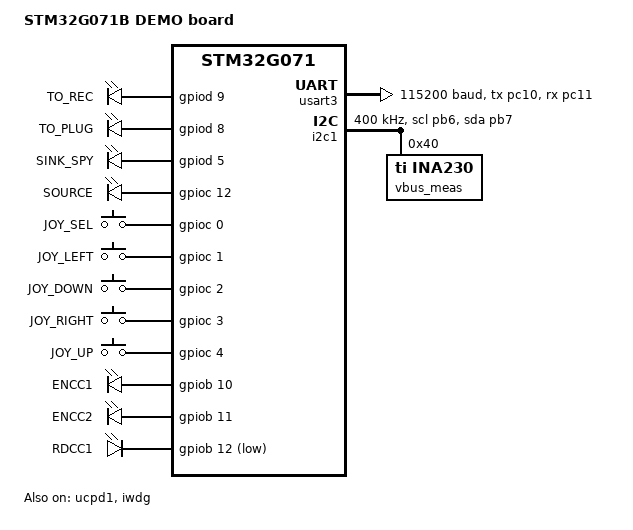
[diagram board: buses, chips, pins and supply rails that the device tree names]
/*
 * Copyright 2021 The Chromium OS Authors
 *
 * SPDX-License-Identifier: Apache-2.0
 */

/dts-v1/;
#include <st/g0/stm32g071Xb.dtsi>
#include <st/g0/stm32g071r(6-8-b)tx-pinctrl.dtsi>
#include <zephyr/dt-bindings/sensor/ina230.h>
#include <zephyr/dt-bindings/input/input-event-codes.h>

/ {
	model = "STM32G071B DEMO board";
	compatible = "st,stm32g071-demo";

	chosen {
		zephyr,console = &usart3;
		zephyr,shell-uart = &usart3;
		zephyr,sram = &sram0;
		zephyr,flash = &flash0;
	};

	leds {
		compatible = "gpio-leds";
		red_led_4: led4 {
			gpios = <&gpiod 9 GPIO_ACTIVE_HIGH>;
			label = "TO_REC";
		};
		red_led_5: led5 {
			gpios = <&gpiod 8 GPIO_ACTIVE_HIGH>;
			label = "TO_PLUG";
		};
		green_led_6: led6 {
			gpios = <&gpiod 5 GPIO_ACTIVE_HIGH>;
			label = "SINK_SPY";
		};
		green_led_7: led7 {
			gpios = <&gpioc 12 GPIO_ACTIVE_HIGH>;
			label = "SOURCE";
		};
	};

	gpio_keys {
		compatible = "gpio-keys";
		joy_sel: button0 {
			label = "JOY_SEL";
			gpios = <&gpioc 0 (GPIO_ACTIVE_HIGH | GPIO_PULL_DOWN)>;
			zephyr,code = <INPUT_KEY_ENTER>;
		};
		joy_left: button1 {
			label = "JOY_LEFT";
			gpios = <&gpioc 1 (GPIO_ACTIVE_HIGH | GPIO_PULL_DOWN)>;
			zephyr,code = <INPUT_KEY_LEFT>;
		};
		joy_down: button2 {
			label = "JOY_DOWN";
			gpios = <&gpioc 2 (GPIO_ACTIVE_HIGH | GPIO_PULL_DOWN)>;
			zephyr,code = <INPUT_KEY_DOWN>;
		};
		joy_right: button3 {
			label = "JOY_RIGHT";
			gpios = <&gpioc 3 (GPIO_ACTIVE_HIGH | GPIO_PULL_DOWN)>;
			zephyr,code = <INPUT_KEY_RIGHT>;
		};
		joy_up: button4 {
			label = "JOY_UP";
			gpios = <&gpioc 4 (GPIO_ACTIVE_HIGH | GPIO_PULL_DOWN)>;
			zephyr,code = <INPUT_KEY_UP>;
		};
	};

	cc_config {
		compatible = "gpio-leds";
		encc1 {
			gpios = <&gpiob 10 GPIO_ACTIVE_HIGH>;
			label = "ENCC1";
		};

		encc2 {
			gpios = <&gpiob 11 GPIO_ACTIVE_HIGH>;
			label = "ENCC2";
		};

		rdcc1 {
			gpios = <&gpiob 12 GPIO_ACTIVE_LOW>;
			label = "RDCC1";
		};
	};

	aliases {
		led0 = &red_led_4;
		led1 = &red_led_5;
		led2 = &green_led_6;
		led3 = &green_led_7;
		sw0 = &joy_sel;
		sw1 = &joy_left;
		sw2 = &joy_down;
		sw3 = &joy_right;
		sw4 = &joy_up;
		watchdog0 = &iwdg;
	};
};

&clk_hsi {
	status = "okay";
};

&pll {
	div-m = <1>;
	mul-n = <8>;
	div-p = <2>;
	div-q = <2>;
	div-r = <2>;
	clocks = <&clk_hsi>;
	status = "okay";
};

&rcc {
	clocks = <&pll>;
	clock-frequency = <DT_FREQ_M(64)>;
	ahb-prescaler = <1>;
	apb1-prescaler = <1>;
};

&usart3 {
	pinctrl-0 = <&usart3_tx_pc10 &usart3_rx_pc11>;
	pinctrl-names = "default";
	current-speed = <115200>;
	status = "okay";
};

&i2c1 {
	status = "okay";
	pinctrl-0 = <&i2c1_scl_pb6 &i2c1_sda_pb7>;
	pinctrl-names = "default";
	status = "okay";
	clock-frequency = <I2C_BITRATE_FAST>;

	/*
	 * Use U10, INA230 to measure VBUS. I2C Address: 0x40
	 */
	vbus_meas: ina230@40 {
		status = "okay";
		compatible = "ti,ina230";
		reg = <0x40>;
		adc-mode = "Bus voltage continuous";
		vbus-conversion-time-us = <1100>;
		vshunt-conversion-time-us = <1100>;
		avg-count = <1>;
		current-lsb-microamps = <1000>;
		rshunt-micro-ohms = <15000>;
	};
};

&ucpd1 {
	status = "okay";

	/*
	 * UCPD is fed directly from HSI which is @ 16MHz. The ucpd_clk goes to
	 * a prescaler who's output feeds the 'half-bit' divider which is used
	 * to generate clock for delay counters and BMC Rx/Tx blocks. The rx is
	 * designed to work in freq ranges of 6 <--> 18 MHz, however recommended
	 * range is 9 <--> 18 MHz.
	 *
	 *          +-------+ @ 16 MHz +-------+   @ ~600 kHz   +-----------+
	 * HSI ---->| /psc  |--------->| /hbit |--------------->| trans_cnt |
	 *          +-------+          +-------+   |            +-----------+
	 *                                         |            +-----------+
	 *                                         +----------->| ifrgap_cnt|
	 *                                                      +-----------+
	 * Requirements:
	 *   1. hbit_clk ~= 600 kHz: 16 MHz / 600 kHz = 26.67
	 *   2. tTransitionWindow - 12 to 20 uSec
	 *   3. tInterframGap - uSec
	 *
	 * hbit_clk = HSI_clk / 27 = 592.6 kHz = 1.687 uSec period
	 * tTransitionWindow = 1.687 uS * 8 = 13.5 uS
	 * tInterFrameGap = 1.687 uS * 17 = 28.68 uS
	 */
	psc-ucpdclk = <1>;
	hbitclkdiv = <27>;
	pinctrl-0 = <&ucpd1_cc1_pa8 &ucpd1_cc2_pb15>;
	pinctrl-names = "default";
};

&iwdg {
	status = "okay";
};
